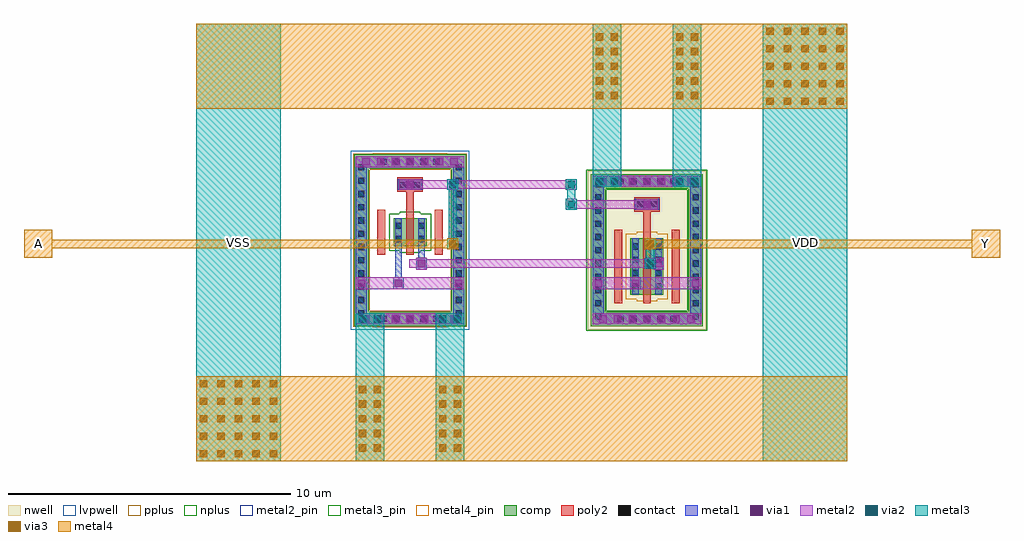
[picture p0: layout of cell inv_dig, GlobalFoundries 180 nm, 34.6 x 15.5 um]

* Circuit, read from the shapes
.subckt inv_dig A VDD VSS Y
XM1 Y A VSS VSS nfet_03v3 w=1u l=0.28u
XM2 Y A VDD VDD pfet_03v3 w=2u l=0.28u
.ends

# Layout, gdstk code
import gdstk
lib = gdstk.Library(unit=1e-6, precision=1e-09)
def R(c, l, rs):  # rectangles x0, y0, x1, y1
    for r in rs: c.add(gdstk.rectangle(r[:2], r[2:], *l))
def A(c, l, x, y, w, h, nx, ny, dx, dy):  # array of equal rectangles
    R(c, l, [(x+i*dx, y+j*dy, x+i*dx+w, y+j*dy+h) for i in range(nx) for j in range(ny)])
nwell = (21, 0)
comp = (22, 0)
poly2 = (30, 0)
pplus = (31, 0)
nplus = (32, 0)
contact = (33, 0)
metal1 = (34, 0)
via1 = (35, 0)
metal2 = (36, 0)
metal2_pin = (36, 10)
via2 = (38, 0)
via3 = (40, 0)
metal3 = (42, 0)
metal3_pin = (42, 10)
metal4 = (46, 0)
metal4_pin = (46, 10)
lvpwell = (204, 0)

inv_dig_mn = lib.new_cell('inv_dig_MN')
R(inv_dig_mn, comp, [(-1.4,-0.82,2.57,-0.3), (-1.4,-0.3,-0.88,4.755), (2.05,-0.3,2.57,4.755), (0,2.01,1.17,3.01), (-1.4,4.755,2.57,5.275)])
R(inv_dig_mn, poly2, [(-0.58,1.71,-0.3,3.31), (0.445,1.71,0.725,3.945), (1.47,1.71,1.75,3.31), (0.135,3.945,1.035,4.455)])
R(inv_dig_mn, pplus, [(-0.74,-0.85,1.91,-0.84), (-1.42,-0.84,2.59,-0.795), (-1.43,-0.795,2.6,-0.27), (-1.43,-0.27,-0.85,4.725), (2.02,-0.27,2.6,4.725), (-1.43,4.725,2.6,5.25), (-1.42,5.25,2.59,5.295), (-0.74,5.295,1.91,5.305)])
R(inv_dig_mn, nplus, [(0.215,1.78,0.955,1.85), (-0.16,1.85,1.33,3.17), (0.215,3.17,0.955,3.24)])
A(inv_dig_mn, contact, -0.465, -0.67, 0.22, 0.22, 5, 2, 0.47, 5.575)
A(inv_dig_mn, contact, -1.25, -0.47, 0.22, 0.22, 1, 12, 0, 0.47)
A(inv_dig_mn, contact, 2.2, -0.47, 0.22, 0.22, 1, 12, 0, 0.47)
R(inv_dig_mn, contact, [(0.07,2.165,0.29,2.385), (0.88,2.165,1.1,2.385), (0.07,2.635,0.29,2.855), (0.88,2.635,1.1,2.855), (0.24,4.09,0.46,4.31), (0.71,4.09,0.93,4.31)])
R(inv_dig_mn, metal1, [(-1.335,-0.755,2.505,-0.365), (-1.335,-0.365,-0.945,4.82), (2.115,-0.365,2.505,4.82), (-0.01,0.49,0.37,0.91), (0.065,0.91,0.295,3), (0.8,1.19,1.18,1.61), (0.875,1.61,1.105,3), (0.145,4.01,1.025,4.39), (-1.335,4.82,2.505,5.21)])
A(inv_dig_mn, via1, -1.105, -0.69, 0.26, 0.26, 7, 2, 0.52, 5.575)
R(inv_dig_mn, via1, [(-1.27,0.57,-1.01,0.83), (0.05,0.57,0.31,0.83), (2.18,0.57,2.44,0.83), (0.86,1.27,1.12,1.53), (0.455,4.07,0.715,4.33)])
R(inv_dig_mn, metal2, [(-1.335,-0.755,2.505,-0.365), (-1.335,0.49,2.505,0.91), (0.8,1.19,1.18,1.61), (0.2,4.01,0.97,4.39), (-1.335,4.82,2.505,5.21)])
R(inv_dig_mn, metal2_pin, [(-1.335,-0.755,2.505,-0.365), (0.8,1.19,1.18,1.61), (0.2,4.01,0.97,4.39)])
R(inv_dig_mn, lvpwell, [(-1.52,-0.94,2.69,5.395)])
inv_dig_mn.add(gdstk.Label('Y', (0.99,1.4), layer=36, texttype=10))
inv_dig_mn.add(gdstk.Label('A', (0.585,4.2), layer=36, texttype=10))
inv_dig_mn.add(gdstk.Label('VSS', (0.585,-0.56), layer=36, texttype=10))

inv_dig_mp = lib.new_cell('inv_dig_MP')
R(inv_dig_mp, nwell, [(-1.52,-0.94,2.69,4.695)])
R(inv_dig_mp, comp, [(-1.4,-0.82,2.57,-0.3), (-1.4,-0.3,-0.88,4.055), (2.05,-0.3,2.57,4.055), (0,0.3,1.17,2.3), (-1.4,4.055,2.57,4.575)])
R(inv_dig_mp, poly2, [(-0.58,0,-0.3,2.6), (0.445,0,0.725,3.245), (1.47,0,1.75,2.6), (0.135,3.245,1.035,3.755)])
R(inv_dig_mp, pplus, [(0.215,0.07,0.955,0.14), (-0.16,0.14,1.33,2.46), (0.215,2.46,0.955,2.53)])
R(inv_dig_mp, nplus, [(-1.56,-0.98,2.73,-0.27), (-1.56,-0.27,-0.85,4.025), (2.02,-0.27,2.73,4.025), (-1.56,4.025,2.73,4.735)])
A(inv_dig_mp, contact, -0.465, -0.67, 0.22, 0.22, 5, 2, 0.47, 4.875)
A(inv_dig_mp, contact, -1.25, -0.585, 0.22, 0.22, 1, 11, 0, 0.47)
A(inv_dig_mp, contact, 2.2, -0.585, 0.22, 0.22, 1, 11, 0, 0.47)
A(inv_dig_mp, contact, 0.07, 0.485, 0.22, 0.22, 1, 4, 0, 0.47)
A(inv_dig_mp, contact, 0.88, 0.485, 0.22, 0.22, 1, 4, 0, 0.47)
R(inv_dig_mp, contact, [(0.24,3.39,0.46,3.61), (0.71,3.39,0.93,3.61)])
R(inv_dig_mp, metal1, [(-1.335,-0.755,2.505,-0.365), (-1.335,-0.365,-0.945,4.12), (2.115,-0.365,2.505,4.12), (0.065,0.31,0.295,0.49), (0.875,0.31,1.105,1.19), (-0.01,0.49,0.37,0.91), (0.065,0.91,0.295,2.29), (0.8,1.19,1.18,1.61), (0.875,1.61,1.105,2.29), (0.145,3.31,1.025,3.69), (-1.335,4.12,2.505,4.51)])
A(inv_dig_mp, via1, -1.105, -0.69, 0.26, 0.26, 7, 2, 0.52, 4.875)
R(inv_dig_mp, via1, [(-1.27,0.57,-1.01,0.83), (0.05,0.57,0.31,0.83), (2.18,0.57,2.44,0.83), (0.86,1.27,1.12,1.53), (0.455,3.37,0.715,3.63)])
R(inv_dig_mp, metal2, [(-1.335,-0.755,2.505,-0.365), (-1.335,0.49,2.505,0.91), (0.8,1.19,1.18,1.61), (0.2,3.31,0.97,3.69), (-1.335,4.12,2.505,4.51)])
R(inv_dig_mp, metal2_pin, [(-1.335,-0.755,2.505,-0.365), (0.8,1.19,1.18,1.61), (0.2,3.31,0.97,3.69)])
inv_dig_mp.add(gdstk.Label('Y', (0.99,1.4), layer=36, texttype=10))
inv_dig_mp.add(gdstk.Label('A', (0.585,3.5), layer=36, texttype=10))
inv_dig_mp.add(gdstk.Label('VDD', (0.585,-0.56), layer=36, texttype=10))

inv_dig = lib.new_cell('inv_dig')
R(inv_dig, metal2, [(5.665,4.845,6.665,5.235), (8.505,4.845,9.505,5.235), (15.91,6.81,16.29,6.85), (7.55,6.85,16.29,7.15), (15.91,7.15,16.29,7.19), (13.11,8.91,13.49,8.95), (13.11,8.95,16.25,9.25), (13.11,9.25,13.49,9.29), (8.91,9.61,9.29,9.65), (13.11,9.61,13.49,9.65), (7.55,9.65,13.49,9.95), (14.065,9.72,15.065,10.11), (16.905,9.72,17.905,10.11), (8.91,9.95,9.29,9.99), (13.11,9.95,13.49,9.99)])
R(inv_dig, via2, [(5.775,4.91,6.035,5.17), (6.295,4.91,6.555,5.17), (8.615,4.91,8.875,5.17), (9.135,4.91,9.395,5.17), (15.97,6.87,16.23,7.13), (13.17,8.97,13.43,9.23), (8.97,9.67,9.23,9.93), (13.17,9.67,13.43,9.93), (14.175,9.785,14.435,10.045), (14.695,9.785,14.955,10.045), (17.015,9.785,17.275,10.045), (17.535,9.785,17.795,10.045)])
A(inv_dig, via3, 0.13, 0.13, 0.26, 0.26, 5, 5, 0.62, 0.62)
A(inv_dig, via3, 5.775, 0.33, 0.26, 0.26, 1, 5, 0, 0.52)
A(inv_dig, via3, 6.295, 0.33, 0.26, 0.26, 1, 5, 0, 0.52)
A(inv_dig, via3, 8.615, 0.33, 0.26, 0.26, 1, 5, 0, 0.52)
A(inv_dig, via3, 9.135, 0.33, 0.26, 0.26, 1, 5, 0, 0.52)
A(inv_dig, via3, 20.22, 12.625, 0.26, 0.26, 5, 5, 0.62, 0.62)
A(inv_dig, via3, 14.175, 12.825, 0.26, 0.26, 1, 5, 0, 0.52)
A(inv_dig, via3, 14.695, 12.825, 0.26, 0.26, 1, 5, 0, 0.52)
A(inv_dig, via3, 17.015, 12.825, 0.26, 0.26, 1, 5, 0, 0.52)
A(inv_dig, via3, 17.535, 12.825, 0.26, 0.26, 1, 5, 0, 0.52)
R(inv_dig, via3, [(8.97,7.57,9.23,7.83), (15.97,7.57,16.23,7.83)])
R(inv_dig, metal3, [(0,0,3,15.495), (5.665,0,6.665,5.235), (8.505,0,9.505,5.235), (20.09,0,23.09,15.495), (15.91,6.81,16.29,7.19), (15.95,7.19,16.25,7.51), (8.91,7.51,9.29,7.89), (15.91,7.51,16.29,7.89), (8.95,7.89,9.25,9.61), (13.11,8.91,13.49,9.29), (13.15,9.29,13.45,9.61), (8.91,9.61,9.29,9.99), (13.11,9.61,13.49,9.99), (14.065,9.72,15.065,15.495), (16.905,9.72,17.905,15.495)])
R(inv_dig, metal3_pin, [(0,0,3,15.495), (20.09,0,23.09,15.495)])
R(inv_dig, metal4, [(0,0,23.09,3), (-6.1,7.2,-5.1,7.55), (27.5,7.2,28.5,7.55), (8.91,7.51,9.29,7.55), (15.91,7.51,16.29,7.55), (-6.1,7.55,9.29,7.85), (15.91,7.55,28.5,7.85), (-6.1,7.85,-5.1,8.2), (8.91,7.85,9.29,7.89), (15.91,7.85,16.29,7.89), (27.5,7.85,28.5,8.2), (0,12.495,23.09,15.495)])
R(inv_dig, metal4_pin, [(-6.1,7.2,-5.1,8.2), (27.5,7.2,28.5,8.2)])
inv_dig.add(gdstk.Reference(inv_dig_mn, (7,5.6)))
inv_dig.add(gdstk.Reference(inv_dig_mp, (15.4,5.6)))
inv_dig.add(gdstk.Label('VSS', (1.5,7.747), layer=42, texttype=10))
inv_dig.add(gdstk.Label('VDD', (21.59,7.747), layer=42, texttype=10))
inv_dig.add(gdstk.Label('A', (-5.6,7.7), layer=46, texttype=10))
inv_dig.add(gdstk.Label('Y', (28,7.7), layer=46, texttype=10))

lib.write_gds('inv_dig.gds')
